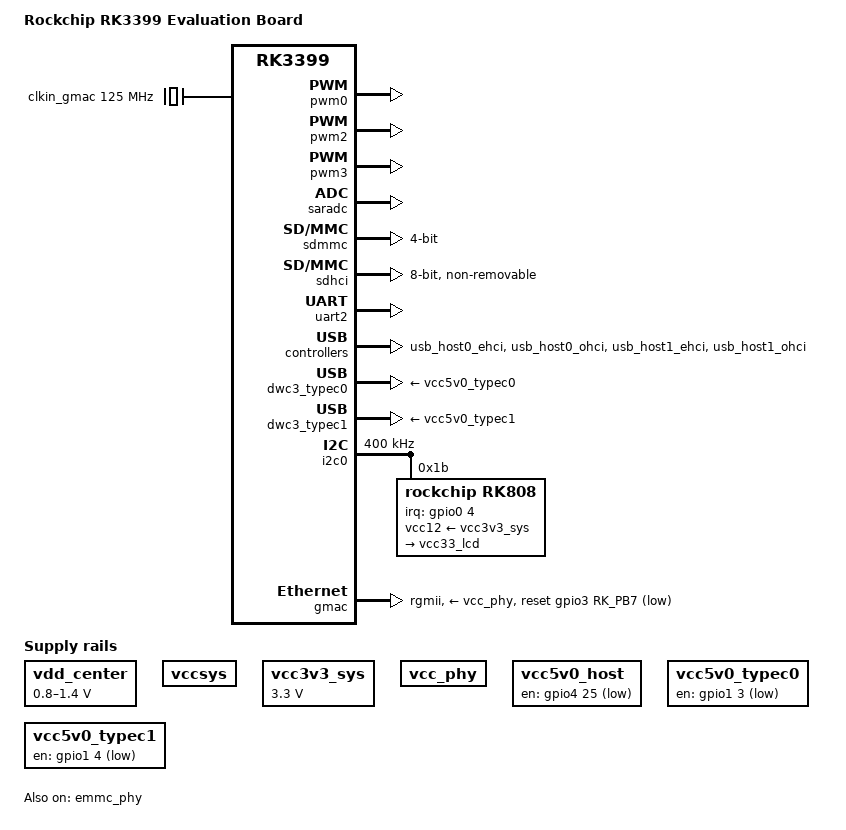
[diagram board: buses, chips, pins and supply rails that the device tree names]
// SPDX-License-Identifier: GPL-2.0+
/*
 * (C) Copyright 2016 Rockchip Electronics Co., Ltd
 */

/dts-v1/;
#include <dt-bindings/pwm/pwm.h>
#include <dt-bindings/pinctrl/rockchip.h>
#include "rk3399.dtsi"

/ {
	model = "Rockchip RK3399 Evaluation Board";
	compatible = "rockchip,rk3399-evb", "rockchip,rk3399",
		     "google,rk3399evb-rev2";

	chosen {
		stdout-path = &uart2;
		u-boot,spl-boot-order = \
			&sdhci, &sdmmc;
	};

	vdd_center: vdd-center {
		compatible = "pwm-regulator";
		pwms = <&pwm3 0 25000 1>;
		regulator-name = "vdd_center";
		regulator-min-microvolt = <800000>;
		regulator-max-microvolt = <1400000>;
		regulator-init-microvolt = <950000>;
		regulator-always-on;
		regulator-boot-on;
		status = "okay";
	};

	vccsys: vccsys {
		compatible = "regulator-fixed";
		regulator-name = "vccsys";
		regulator-boot-on;
		regulator-always-on;
	};

	vcc3v3_sys: vcc3v3-sys {
		compatible = "regulator-fixed";
		regulator-name = "vcc3v3_sys";
		regulator-always-on;
		regulator-boot-on;
		regulator-min-microvolt = <3300000>;
		regulator-max-microvolt = <3300000>;
	};

	vcc_phy: vcc-phy-regulator {
		compatible = "regulator-fixed";
		regulator-name = "vcc_phy";
		regulator-always-on;
		regulator-boot-on;
	};

	vcc5v0_host: vcc5v0-host-en {
		compatible = "regulator-fixed";
		regulator-name = "vcc5v0_host";
		gpio = <&gpio4 25 GPIO_ACTIVE_HIGH>;
	};

	vcc5v0_typec0: vcc5v0-typec0-en {
		compatible = "regulator-fixed";
		regulator-name = "vcc5v0_typec0";
		gpio = <&gpio1 3 GPIO_ACTIVE_HIGH>;
	};

	vcc5v0_typec1: vcc5v0-typec1-en {
		compatible = "regulator-fixed";
		regulator-name = "vcc5v0_typec1";
		gpio = <&gpio1 4 GPIO_ACTIVE_HIGH>;
	};

	clkin_gmac: external-gmac-clock {
		compatible = "fixed-clock";
		clock-frequency = <125000000>;
		clock-output-names = "clkin_gmac";
		#clock-cells = <0>;
	};

	backlight: backlight {
		compatible = "pwm-backlight";
		power-supply = <&vccsys>;
		enable-gpios = <&gpio1 13 GPIO_ACTIVE_HIGH>;
		brightness-levels = <
			  0   1   2   3   4   5   6   7
			  8   9  10  11  12  13  14  15
			 16  17  18  19  20  21  22  23
			 24  25  26  27  28  29  30  31
			 32  33  34  35  36  37  38  39
			 40  41  42  43  44  45  46  47
			 48  49  50  51  52  53  54  55
			 56  57  58  59  60  61  62  63
			 64  65  66  67  68  69  70  71
			 72  73  74  75  76  77  78  79
			 80  81  82  83  84  85  86  87
			 88  89  90  91  92  93  94  95
			 96  97  98  99 100 101 102 103
			104 105 106 107 108 109 110 111
			112 113 114 115 116 117 118 119
			120 121 122 123 124 125 126 127
			128 129 130 131 132 133 134 135
			136 137 138 139 140 141 142 143
			144 145 146 147 148 149 150 151
			152 153 154 155 156 157 158 159
			160 161 162 163 164 165 166 167
			168 169 170 171 172 173 174 175
			176 177 178 179 180 181 182 183
			184 185 186 187 188 189 190 191
			192 193 194 195 196 197 198 199
			200 201 202 203 204 205 206 207
			208 209 210 211 212 213 214 215
			216 217 218 219 220 221 222 223
			224 225 226 227 228 229 230 231
			232 233 234 235 236 237 238 239
			240 241 242 243 244 245 246 247
			248 249 250 251 252 253 254 255>;
		default-brightness-level = <200>;
		pwms = <&pwm0 0 25000 0>;
		pinctrl-names = "default";
		pinctrl-0 = <&pwm0_pin>;
		pwm-delay-us = <10000>;
		status = "disabled";
	};

	panel:panel {
		compatible = "simple-panel";
		power-supply = <&vcc33_lcd>;
		backlight = <&backlight>;
		/*enable-gpios = <&gpio4 18 GPIO_ACTIVE_HIGH>;*/
		status = "disabled";
	};
};

&emmc_phy {
	status = "okay";
};

&pwm0 {
	status = "okay";
};

&pwm2 {
	status = "okay";
};

&pwm3 {
	status = "okay";
};

&saradc {
	status = "okay";
};

&sdmmc {
	bus-width = <4>;
	status = "okay";
};

&sdhci {
	bus-width = <8>;
	mmc-hs400-1_8v;
	mmc-hs400-enhanced-strobe;
	non-removable;
	status = "okay";
};

&uart2 {
	status = "okay";
};

&usb_host0_ehci {
	status = "okay";
};

&usb_host0_ohci {
	status = "okay";
};

&dwc3_typec0 {
	vbus-supply = <&vcc5v0_typec0>;
	status = "okay";
};

&usb_host1_ehci {
	status = "okay";
};

&usb_host1_ohci {
	status = "okay";
};

&dwc3_typec1 {
	vbus-supply = <&vcc5v0_typec1>;
	status = "okay";
};

&i2c0 {
	status = "okay";
	clock-frequency = <400000>;
	i2c-scl-falling-time-ns = <50>;
	i2c-scl-rising-time-ns = <100>;
	u-boot,dm-pre-reloc;

	rk808: pmic@1b {
		compatible = "rockchip,rk808";
		clock-output-names = "xin32k", "wifibt_32kin";
		interrupt-parent = <&gpio0>;
		interrupts = <4 IRQ_TYPE_LEVEL_LOW>;
		pinctrl-names = "default";
		pinctrl-0 = <&pmic_int_l>;
		reg = <0x1b>;
		rockchip,system-power-controller;
		#clock-cells = <1>;
		u-boot,dm-pre-reloc;
		status = "okay";

		vcc12-supply = <&vcc3v3_sys>;

		regulators {
			vcc33_lcd: SWITCH_REG2 {
				regulator-always-on;
				regulator-boot-on;
				regulator-name = "vcc33_lcd";
			};
		};
	};
};

&mipi_dsi {
	status = "disabled";
	rockchip,panel = <&panel>;
	display-timings {
		timing0 {
		bits-per-pixel = <24>;
		clock-frequency = <160000000>;
		hfront-porch = <120>;
		hsync-len = <20>;
		hback-porch = <21>;
		hactive = <1200>;
		vfront-porch = <21>;
		vsync-len = <3>;
		vback-porch = <18>;
		vactive = <1920>;
		hsync-active = <0>;
		vsync-active = <0>;
		de-active = <1>;
		pixelclk-active = <0>;
		};
	};
};

&pinctrl {
	pmic {
		pmic_int_l: pmic-int-l {
			rockchip,pins =
				<1 21 RK_FUNC_GPIO &pcfg_pull_up>;
		};

		pmic_dvs2: pmic-dvs2 {
			rockchip,pins =
				<1 18 RK_FUNC_GPIO &pcfg_pull_down>;
		};
	};
};

&gmac {
        phy-supply = <&vcc_phy>;
	phy-mode = "rgmii";
	clock_in_out = "input";
	snps,reset-gpio = <&gpio3 RK_PB7 GPIO_ACTIVE_LOW>;
	snps,reset-active-low;
	snps,reset-delays-us = <0 10000 50000>;
	assigned-clocks = <&cru SCLK_RMII_SRC>;
	assigned-clock-parents = <&clkin_gmac>;
	pinctrl-names = "default";
	pinctrl-0 = <&rgmii_pins>;
	tx_delay = <0x28>;
	rx_delay = <0x11>;
	status = "okay";
};
